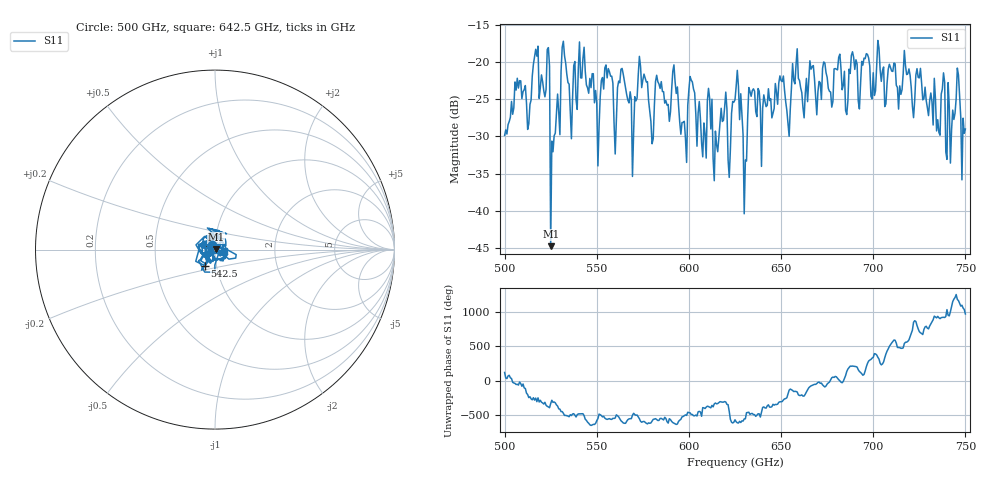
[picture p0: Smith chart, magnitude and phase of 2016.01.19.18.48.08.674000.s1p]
!Created with skrf (http://scikit-rf.org).
# GHz S RI R 50.0
!freq ReS11 ImS11
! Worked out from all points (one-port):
!   401 points, 500 GHz to 750 GHz, reference 50 ohm
!   lowest |S11| = -44.7 dB at 525 GHz (marker M1), VSWR 1.01, Z = 50.5 + j0.262 ohm
!   |S11| at or under -10 dB: start of sweep to end of sweep
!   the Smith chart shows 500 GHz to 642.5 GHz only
!   S11 on the Smith chart (normalised r, x): 500 GHz: 0.97, +0.05; 542.5 GHz: 0.88, -0.16; 642.5 GHz: 1.11, -0.01
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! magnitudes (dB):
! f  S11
! 500 GHz  -29.9
! 506.9 GHz  -22.2
! 513.1 GHz  -28.3
! 516.9 GHz  -18.3
! 523.1 GHz  -18.3
! 525 GHz  -44.7
! 526.2 GHz  -32.1
! 531.2 GHz  -18.0
! 542.5 GHz  -19.5
! 550 GHz  -25.5
! 562.5 GHz  -22.8
! 568.8 GHz  -25.1
! 573.8 GHz  -20.6
! 580 GHz  -31.0
! 593.8 GHz  -23.4
! 597.5 GHz  -28.0
! 601.9 GHz  -22.7
! 608.1 GHz  -28.2
! 611.2 GHz  -24.9
! 614.4 GHz  -29.3
! 625 GHz  -25.1
! 630.6 GHz  -33.2
! 633.8 GHz  -24.6
! 642.5 GHz  -25.8
! 656.2 GHz  -20.2
! 687.5 GHz  -21.5
! 718.8 GHz  -21.6
! 750 GHz  -29.0
